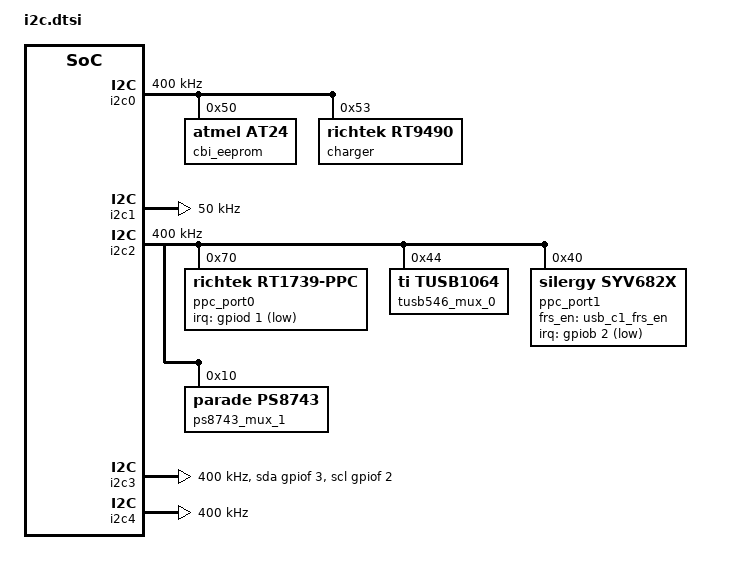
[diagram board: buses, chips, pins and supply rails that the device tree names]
/* Copyright 2022 The ChromiumOS Authors
 * Use of this source code is governed by a BSD-style license that can be
 * found in the LICENSE file.
 */

/ {
	named-i2c-ports {
		compatible = "named-i2c-ports";

		battery {
			i2c-port = <&i2c1>;
			remote-port = <1>;
			enum-names = "I2C_PORT_BATTERY",
				"I2C_PORT_VIRTUAL_BATTERY";
		};
		i2c_charger: charger {
			i2c-port = <&i2c0>;
			enum-names = "I2C_PORT_CHARGER",
				"I2C_PORT_EEPROM";
		};
		i2c_sensor: sensor {
			i2c-port = <&i2c3>;
			enum-names = "I2C_PORT_SENSOR";
		};
		i2c_usb_c: usb-c {
			i2c-port = <&i2c2>;
			enum-names = "I2C_PORT_USB_C";
		};
		i2c_detachable_base: detachable-base {
			i2c-port = <&i2c4>;
			enum-names = "I2C_PORT_DETACHABLE_BASE";
		};
	};

};

&pinctrl {
	i2c3_clk_gpf2_sleep: i2c3_clk_gpf2_sleep {
		pinmuxs = <&pinctrlf 2 IT8XXX2_ALT_DEFAULT>;
	};
	i2c3_data_gpf3_sleep: i2c3_data_gpf3_sleep {
		pinmuxs = <&pinctrlf 3 IT8XXX2_ALT_DEFAULT>;
	};
};

&i2c0 {
	/* I2C_PWR_CBI */
	status = "okay";
	clock-frequency = <I2C_BITRATE_FAST>;
	pinctrl-0 = <&i2c0_clk_gpb3_default
		     &i2c0_data_gpb4_default>;
	pinctrl-names = "default";

	cbi_eeprom: eeprom@50 {
		compatible = "atmel,at24";
		reg = <0x50>;
		size = <2048>;
		pagesize = <16>;
		address-width = <8>;
		timeout = <5>;
	};

	charger: rt9490@53 {
		compatible = "richtek,rt9490";
		status = "okay";
		reg = <0x53>;
	};
};

&i2c1 {
	/* I2C_BATTERY */
	status = "okay";
	clock-frequency = <50000>;
	pinctrl-0 = <&i2c1_clk_gpc1_default
		     &i2c1_data_gpc2_default>;
	pinctrl-names = "default";
	fifo-enable;
};

&i2c2 {
	/* I2C_USB_C */
	status = "okay";
	clock-frequency = <I2C_BITRATE_FAST>;
	pinctrl-0 = <&i2c2_clk_gpf6_default
		     &i2c2_data_gpf7_default>;
	pinctrl-names = "default";
	/delete-property/ fifo-enable;

	ppc_port0: rt1739@70 {
		compatible = "richtek,rt1739-ppc";
		status = "okay";
		reg = <0x70>;
		/* a duplicate of the <&usb_c0_ppc_bc12_int_odl> node in
		 * "named-gpios". This is the Zephyr preferred style,
		 * the "named-gpios" node will be dealt with at a later date.
		 */
		irq-gpios = <&gpiod 1 GPIO_ACTIVE_LOW>;
	};

	tusb546_mux_0: tusb546-mux-0@44 {
		compatible = "ti,tusb1064";
		reg = <0x44>;
	};

	ppc_port1: syv682x@40 {
		compatible = "silergy,syv682x";
		status = "okay";
		reg = <0x40>;
		frs_en_gpio = <&usb_c1_frs_en>;
		/* a duplicate of the <&usb_c1_ppc_int_odl> node in
		 * "named-gpios". This is the Zephyr preferred style,
		 * the "named-gpios" node will be dealt with at a later date.
		 */
		irq-gpios = <&gpiob 2 GPIO_ACTIVE_LOW>;
	};

	ps8743_mux_1: ps8743-mux-1@10 {
		compatible = "parade,ps8743";
		reg = <0x10>;
	};
};

&i2c3 {
	/* I2C_SENSOR */
	status = "okay";
	clock-frequency = <I2C_BITRATE_FAST>;
	scl-gpios = <&gpiof 2 0>;
	sda-gpios = <&gpiof 3 0>;
	pinctrl-0 = <&i2c3_clk_gpf2_default
		     &i2c3_data_gpf3_default>;
	pinctrl-1 = <&i2c3_clk_gpf2_sleep
		     &i2c3_data_gpf3_sleep>;
	pinctrl-names = "default", "sleep";
	prescale-scl-low = <1>;
};

&i2c4 {
	/* I2C_DETACHABLE_BASE */
	status = "okay";
	clock-frequency = <I2C_BITRATE_FAST>;
	pinctrl-0 = <&i2c4_clk_gpe0_default
		     &i2c4_data_gpe7_default>;
	pinctrl-names = "default";
	prescale-scl-low = <1>;

	target-enable;
	hid_i2c_target: hid-i2c-target@56 {
		compatible = "cros-ec,hid-i2c-touchpad";

		reg = <0x56>;
		max_pressure = <255>;
		logical_max_x = <2925>;
		logical_max_y = <1426>;
		physical_max_x = <929>;
		physical_max_y = <457>;

		/* TODO(b/301380459): allocate pid */
		vid = <0x18d1>;
		pid = <0x50ff>;
	};
};
